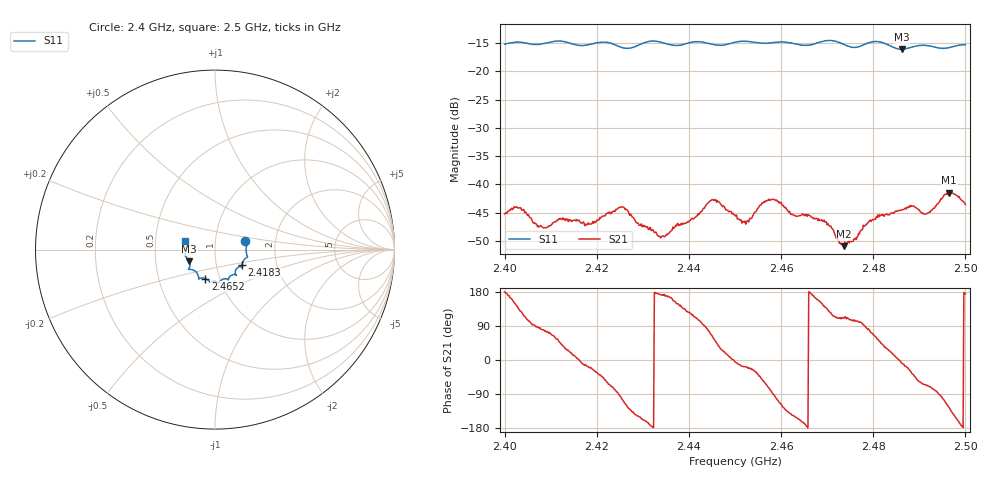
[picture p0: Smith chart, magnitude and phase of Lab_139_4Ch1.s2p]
# Hz S RI R 50
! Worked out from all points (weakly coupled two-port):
!   601 points, 2.4 GHz to 2.5 GHz, reference 50 ohm
!   highest |S21| = -41.47 dB at 2.4965 GHz (marker M1); lowest = -50.9 dB at 2.4737 GHz (marker M2)
!   lowest |S11| = -16.1 dB at 2.4862 GHz (marker M3), VSWR 1.37, Z = 37.2 - j4.89 ohm
!   |S11| at or under -10 dB: start of sweep to end of sweep
!   S12 and S22 are empty: the file has one direction only
!   S11 on the Smith chart (normalised r, x): 2.4 GHz: 1.40, +0.14; 2.4183 GHz: 1.33, -0.24; 2.4652 GHz: 0.85, -0.28; 2.5 GHz: 0.71, +0.07
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2.4e9  0.168 0.0472  -0.00548 2.45e-05  0 0  0 0
2.403e9  0.1791 0.0325  -0.00445 0.00427  0 0  0 0
2.408667e9  0.1759 -0.0226  0.000953 0.00403  0 0  0 0
2.412167e9  0.1811 -0.0417  0.00361 0.00346  0 0  0 0
2.416667e9  0.1553 -0.0681  0.0045 -0.000603  0 0  0 0
2.418333e9  0.1499 -0.0864  0.00419 -0.00152  0 0  0 0
2.4255e9  0.1304 -0.0973  -0.00151 -0.00614  0 0  0 0
2.433333e9  0.1169 -0.1415  -0.00348 0.000286  0 0  0 0
2.441333e9  0.0744 -0.1677  -0.00204 0.00467  0 0  0 0
2.445e9  0.0624 -0.1627  0.00318 0.00661  0 0  0 0
2.45e9  0.0258 -0.1796  0.00534 -0.000442  0 0  0 0
2.4525e9  0.0199 -0.1839  0.00439 -0.00148  0 0  0 0
2.457833e9  -0.0155 -0.1783  0.00114 -0.00724  0 0  0 0
2.465167e9  -0.0545 -0.1612  -0.00517 -0.00101  0 0  0 0
2.466667e9  -0.0708 -0.1577  -0.00507 0.000592  0 0  0 0
2.469833e9  -0.0909 -0.1641  -0.00342 0.00314  0 0  0 0
2.473667e9  -0.0935 -0.1458  -0.000965 0.00267  0 0  0 0
2.483333e9  -0.1414 -0.0967  0.00487 0.00228  0 0  0 0
2.486167e9  -0.1434 -0.0641  0.00585 -0.000851  0 0  0 0
2.491833e9  -0.1669 -0.0286  0.00206 -0.00518  0 0  0 0
2.4965e9  -0.1612 0.021  -0.00499 -0.0068  0 0  0 0
2.5e9  -0.1662 0.0474  -0.0066 0.000669  0 0  0 0
